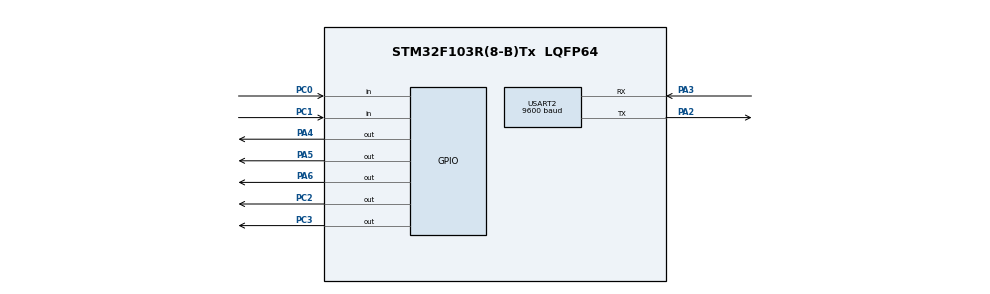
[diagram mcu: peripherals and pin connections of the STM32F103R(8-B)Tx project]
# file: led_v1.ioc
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Mcu.Family=STM32F1
PC2.Signal=GPIO_Output
PC0.Signal=GPIO_Input
VP_SYS_VS_ND.Mode=No_Debug
USART2.BaudRate=9600
ProjectManager.StackSize=0x400
PA3.Mode=Asynchronous
ProjectManager.TargetToolchain=STM32CubeIDE
PC3.Signal=GPIO_Output
PA5.Signal=GPIO_Output
board=custom
RCC.APB2Freq_Value=8000000
Mcu.Name=STM32F103R(8-B)Tx
PA2.Signal=USART2_TX
PA4.Signal=GPIO_Output
Mcu.Package=LQFP64
PA6.Signal=GPIO_Output
USART2.VirtualMode=VM_ASYNC
ProjectManager.HeapSize=0x200
NVIC.PriorityGroup=NVIC_PRIORITYGROUP_4
PA2.Mode=Asynchronous
RCC.APB1Freq_Value=8000000
PC1.Signal=GPIO_Input
PA3.Signal=USART2_RX

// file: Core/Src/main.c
/* USER CODE BEGIN Header */
/**
  ******************************************************************************
  * @file           : main.c
  * @brief          : Main program body
  ******************************************************************************
  * @attention
  *
  * <h2><center>&copy; Copyright (c) 2021 STMicroelectronics.
  * All rights reserved.</center></h2>
  *
  * This software component is licensed by ST under BSD 3-Clause license,
  * the "License"; You may not use this file except in compliance with the
  * License. You may obtain a copy of the License at:
  *                        opensource.org/licenses/BSD-3-Clause
  *
  ******************************************************************************
  */
/* USER CODE END Header */
#include "main.h"
#include "usart.h"
#include "gpio.h"

/* USER CODE BEGIN Includes */
//#include "stdio.h"
/* USER CODE END Includes */

void SystemClock_Config(void);

/* USER CODE BEGIN 0 */
int _write(int file, unsigned char* p, int len) {
      HAL_UART_Transmit(&huart2, p, len, 20);
      return len;
}

int _read(int file, char ptr, int len) {
    HAL_UART_Receive(&huart2, (uint8_t *)ptr++, 1, 0xffff);
    HAL_UART_Transmit(&huart2, (uint8_t)(ptr-1), 1, 10);
    return 1;
}

void judge_temp(int cels) {
	if (cels < 10)
	{
		HAL_GPIO_WritePin(GPIOC, GPIO_PIN_3, SET); // red, SET = high
		HAL_GPIO_WritePin(GPIOC, GPIO_PIN_2, RESET); // green, RESET = low
	}
	else if (cels >= 10 && cels < 20)
	{
		HAL_GPIO_WritePin(GPIOC, GPIO_PIN_3, RESET); // red, RESET = low
		HAL_GPIO_WritePin(GPIOC, GPIO_PIN_2, RESET); // green, RESET = low
	}
	else
	{
		HAL_GPIO_WritePin(GPIOC, GPIO_PIN_2, SET); // green, SET = high
		HAL_GPIO_WritePin(GPIOC, GPIO_PIN_3, RESET); // red, RESET = low
	}
}
/* USER CODE END 0 */

int main(void)
{

  /* MCU Configuration--------------------------------------------------------*/

  /* Reset of all peripherals, Initializes the Flash interface and the Systick. */
  HAL_Init();

  /* Configure the system clock */
  SystemClock_Config();

  /* Initialize all configured peripherals */
  MX_GPIO_Init();
  MX_USART2_UART_Init();
  /* USER CODE BEGIN 2 */
  int cels = 15;
  int time = 0;

  HAL_GPIO_WritePin(GPIOC, GPIO_PIN_2 , RESET); // green, SET = high
  HAL_GPIO_WritePin(GPIOC, GPIO_PIN_3 , RESET); // red, SET = high
  /* USER CODE END 2 */

  /* Infinite loop */
	while (1) {

    /* USER CODE BEGIN 3 */
		// when click
		if (HAL_GPIO_ReadPin(GPIOC, GPIO_PIN_1) == 0)
		{
			cels++;
			HAL_Delay(100);
			judge_temp(cels);
			time++;
		}
		if (HAL_GPIO_ReadPin(GPIOC, GPIO_PIN_0) == 0)
		{
			cels--;
			HAL_Delay(100);
			judge_temp(cels);
			time++;
		}
		time++;
		HAL_Delay(100);
		if (time >= 10)
		{
			printf("now temperature : %dC", cels);
			printf("\n\r");
			time = 0;
		}
	}
  /* USER CODE END 3 */
}

void SystemClock_Config(void)
{
  RCC_OscInitTypeDef RCC_OscInitStruct = {0};
  RCC_ClkInitTypeDef RCC_ClkInitStruct = {0};

  /** Initializes the RCC Oscillators according to the specified parameters
  * in the RCC_OscInitTypeDef structure.
  */
  RCC_OscInitStruct.OscillatorType = RCC_OSCILLATORTYPE_HSI;
  RCC_OscInitStruct.HSIState = RCC_HSI_ON;
  RCC_OscInitStruct.HSICalibrationValue = RCC_HSICALIBRATION_DEFAULT;
  RCC_OscInitStruct.PLL.PLLState = RCC_PLL_NONE;
  if (HAL_RCC_OscConfig(&RCC_OscInitStruct) != HAL_OK)
  {
    Error_Handler();
  }
  /** Initializes the CPU, AHB and APB buses clocks
  */
  RCC_ClkInitStruct.ClockType = RCC_CLOCKTYPE_HCLK|RCC_CLOCKTYPE_SYSCLK
                              |RCC_CLOCKTYPE_PCLK1|RCC_CLOCKTYPE_PCLK2;
  RCC_ClkInitStruct.SYSCLKSource = RCC_SYSCLKSOURCE_HSI;
  RCC_ClkInitStruct.AHBCLKDivider = RCC_SYSCLK_DIV1;
  RCC_ClkInitStruct.APB1CLKDivider = RCC_HCLK_DIV1;
  RCC_ClkInitStruct.APB2CLKDivider = RCC_HCLK_DIV1;

  if (HAL_RCC_ClockConfig(&RCC_ClkInitStruct, FLASH_LATENCY_0) != HAL_OK)
  {
    Error_Handler();
  }
}

void Error_Handler(void)
{
  __disable_irq();
  while (1)
  {
  }
}

/************************ (C) COPYRIGHT STMicroelectronics *****END OF FILE****/
